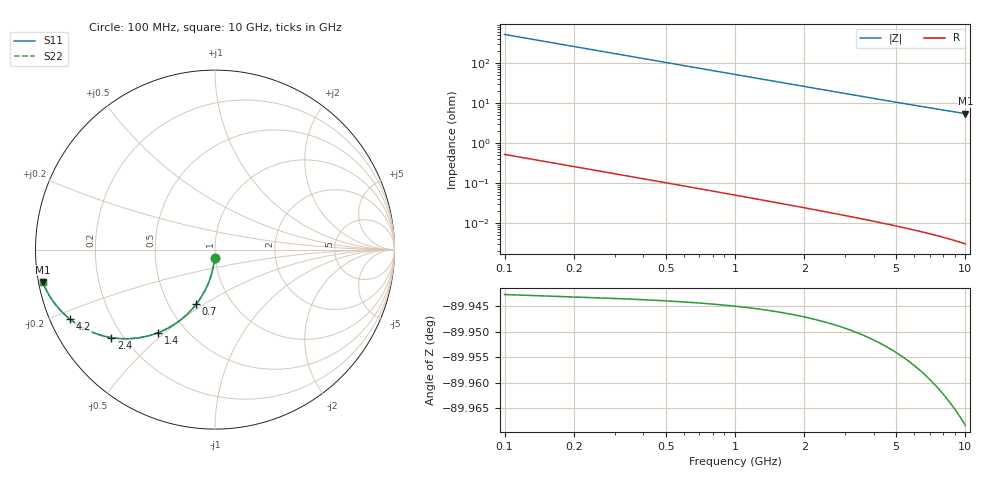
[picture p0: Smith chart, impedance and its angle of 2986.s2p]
# Hz S RI R 50.00
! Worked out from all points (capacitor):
!   100 points, 100 MHz to 10 GHz, reference 50 ohm
!   read as one part in shunt: C = 3.1 pF near 100 MHz
!   lowest |Z| = 5.39 ohm at 10 GHz (marker M1)
!   S11 on the Smith chart (normalised r, x): 100 MHz: 0.99, -0.10; 700 MHz: 0.68, -0.46; 1.4 GHz: 0.35, -0.47; 2.4 GHz: 0.16, -0.36; 4.2 GHz: 0.06, -0.23; 10 GHz: 0.01, -0.09
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1e8  -0.00232 -0.0485  0.9975 -0.0487  0.9975 -0.0487  -0.00232 -0.0485
2e8  -0.0094 -0.0962  0.9904 -0.0968  0.9904 -0.0968  -0.0094 -0.0962
3e8  -0.021 -0.1427  0.9788 -0.1435  0.9788 -0.1435  -0.021 -0.1427
4e8  -0.0367 -0.1871  0.9631 -0.1882  0.9631 -0.1882  -0.0367 -0.1871
5e8  -0.0561 -0.2292  0.9437 -0.2305  0.9437 -0.2305  -0.0561 -0.2292
6e8  -0.0789 -0.2684  0.9209 -0.27  0.9209 -0.27  -0.0789 -0.2684
7e8  -0.1043 -0.3044  0.8954 -0.3063  0.8954 -0.3063  -0.1043 -0.3044
8e8  -0.132 -0.3371  0.8677 -0.3392  0.8677 -0.3392  -0.132 -0.3371
1e9  -0.192 -0.3921  0.8078 -0.3948  0.8078 -0.3948  -0.192 -0.3921
1.2e9  -0.2549 -0.4338  0.7449 -0.437  0.7449 -0.437  -0.2549 -0.4338
1.4e9  -0.3177 -0.4632  0.6821 -0.467  0.6821 -0.467  -0.3177 -0.4632
1.8e9  -0.4349 -0.4928  0.5649 -0.4977  0.5649 -0.4977  -0.4349 -0.4928
2.1e9  -0.5116 -0.4965  0.4882 -0.5022  0.4882 -0.5022  -0.5116 -0.4965
2.4e9  -0.5778 -0.4901  0.422 -0.4966  0.422 -0.4966  -0.5778 -0.4901
2.9e9  -0.6665 -0.467  0.3332 -0.4748  0.3332 -0.4748  -0.6665 -0.467
3.4e9  -0.7332 -0.4371  0.2665 -0.4463  0.2665 -0.4463  -0.7332 -0.4371
4.2e9  -0.8077 -0.3878  0.192 -0.3992  0.192 -0.3992  -0.8077 -0.3878
5.1e9  -0.8612 -0.3381  0.1385 -0.352  0.1385 -0.352  -0.8612 -0.3381
5.8e9  -0.8894 -0.305  0.1103 -0.3208  0.1103 -0.3208  -0.8894 -0.305
6.7e9  -0.9149 -0.2689  0.0847 -0.2873  0.0847 -0.2873  -0.9149 -0.2689
8.4e9  -0.9445 -0.2163  0.055 -0.2395  0.055 -0.2395  -0.9445 -0.2163
1e10  -0.9604 -0.1796  0.0389 -0.2075  0.0389 -0.2075  -0.9604 -0.1796
